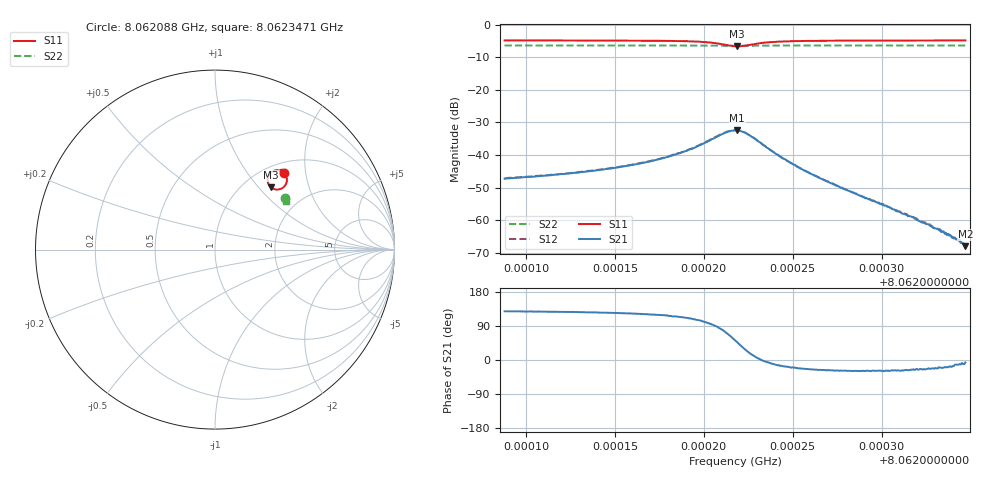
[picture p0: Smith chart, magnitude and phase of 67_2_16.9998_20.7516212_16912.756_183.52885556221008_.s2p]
#  HZ  S  RI  R  50.00
! Rohde & Schwarz Vector Network Analyzer
! Rohde-Schwarz,ZNB20-2Port,1311601062101988,3.16
! Created: UTC 3/20/2024, 10:55:03 PM
! freq[Hz]  re:S11  im:S11  re:S21  im:S21  re:S12  im:S12  re:S22  im:S22
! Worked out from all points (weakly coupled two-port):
!   401 points, 8.062088 GHz to 8.0623471 GHz, reference 50 ohm
!   highest |S21| = -32.38 dB at 8.0622188 GHz (marker M1); lowest = -68.0 dB at 8.0623471 GHz (marker M2)
!   lowest |S11| = -6.6 dB at 8.0622188 GHz (marker M3), VSWR 2.75, Z = 65.8 + j58.4 ohm
!   |S11| at or under -10 dB: nowhere
!   |S22| runs from -6.4 to -6.3 dB; largest |S21 - S12| = 0.0018
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8.06208798e9  0.383 0.4293  -0.0027 0.00339  -0.00254 0.00359  0.3885 0.2851
8.06213138e9  0.3887 0.423  -0.00323 0.00442  -0.003 0.00469  0.3901 0.2828
8.0621534e9  0.3925 0.4173  -0.00365 0.00547  -0.00334 0.00577  0.3909 0.2816
8.06217478e9  0.3974 0.4071  -0.00415 0.00755  -0.00372 0.0079  0.3915 0.2801
8.06218579e9  0.3999 0.3974  -0.00426 0.00962  -0.00368 0.0101  0.392 0.2791
8.06219421e9  0.4006 0.3849  -0.00388 0.0122  -0.00324 0.0126  0.3919 0.2782
8.06220392e9  0.393 0.3609  -0.00143 0.0171  -0.000312 0.0174  0.3916 0.2769
8.0622117e9  0.3636 0.3374  0.00562 0.021  0.00712 0.0209  0.3901 0.2761
8.06221752e9  0.3209 0.341  0.0146 0.0189  0.0161 0.018  0.3885 0.2766
8.06221882e9  0.3119 0.3471  0.0166 0.0174  0.0178 0.0163  0.3883 0.2768
8.06222465e9  0.2928 0.388  0.0194 0.00788  0.0199 0.00658  0.3884 0.2787
8.06223437e9  0.3137 0.4312  0.0137 -0.000873  0.0137 -0.00173  0.3903 0.2795
8.06224408e9  0.3358 0.4413  0.00873 -0.00247  0.00851 -0.00303  0.3916 0.2793
8.06226092e9  0.3559 0.4418  0.0046 -0.00213  0.00451 -0.0024  0.3931 0.2785
8.06227776e9  0.3656 0.4391  0.00273 -0.00147  0.00267 -0.00166  0.3938 0.2772
8.06230432e9  0.3738 0.4354  0.00138 -0.000766  0.00136 -0.000822  0.3949 0.2758
8.0623257e9  0.3778 0.433  0.000797 -0.000347  0.000808 -0.000368  0.3958 0.2745
8.06233476e9  0.3792 0.4322  0.000631 -0.000234  0.000624 -0.000257  0.3963 0.2741
8.06234059e9  0.38 0.4315  0.000502 -0.000142  0.000497 -0.000222  0.3963 0.2738
8.06234254e9  0.3804 0.4315  0.000506 -0.000113  0.000492 -0.000165  0.3964 0.2737
8.06234513e9  0.3806 0.4312  0.00044 -6.11e-05  0.000438 -0.000116  0.3965 0.2735
8.06234707e9  0.3808 0.431  0.000396 -4.35e-05  0.000419 -8.75e-05  0.3965 0.2735
